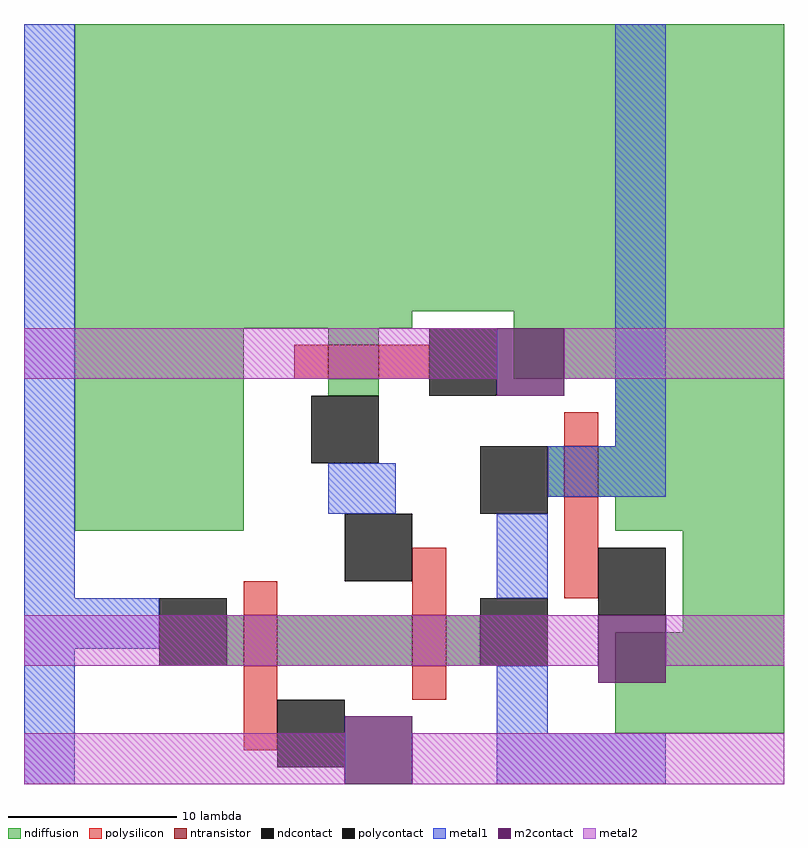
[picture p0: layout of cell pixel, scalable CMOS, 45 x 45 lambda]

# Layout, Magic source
magic
tech scmos
<< ntransistor >>
rect -74 -39 -71 -37
rect -60 -46 -58 -43
rect -79 -56 -77 -53
rect -69 -56 -67 -53
<< ndiffusion >>
rect -89 -35 -47 -18
rect -89 -36 -69 -35
rect -89 -48 -79 -36
rect -74 -37 -71 -36
rect -74 -40 -71 -39
rect -63 -39 -47 -35
rect -57 -43 -47 -39
rect -61 -46 -60 -43
rect -58 -46 -47 -43
rect -57 -48 -47 -46
rect -80 -56 -79 -53
rect -77 -56 -69 -53
rect -67 -56 -65 -53
rect -53 -54 -47 -48
rect -57 -60 -47 -54
<< ndcontact >>
rect -75 -44 -71 -40
rect -65 -47 -61 -43
rect -84 -56 -80 -52
rect -65 -56 -61 -52
<< polysilicon >>
rect -76 -39 -74 -37
rect -71 -39 -68 -37
rect -60 -43 -58 -41
rect -79 -53 -77 -51
rect -69 -53 -67 -49
rect -60 -52 -58 -46
rect -79 -61 -77 -56
rect -69 -58 -67 -56
<< polycontact >>
rect -68 -40 -64 -36
rect -73 -51 -69 -47
rect -58 -53 -54 -49
rect -77 -62 -73 -58
<< metal1 >>
rect -92 -52 -89 -18
rect -57 -43 -54 -18
rect -74 -47 -70 -44
rect -61 -46 -54 -43
rect -64 -52 -61 -47
rect -92 -55 -84 -52
rect -92 -63 -89 -55
rect -64 -60 -61 -56
rect -64 -63 -54 -60
<< m2contact >>
rect -64 -40 -60 -36
rect -73 -63 -69 -59
rect -58 -57 -54 -53
<< metal2 >>
rect -92 -39 -64 -36
rect -60 -39 -47 -36
rect -92 -56 -58 -53
rect -54 -56 -47 -53
rect -92 -63 -73 -60
rect -69 -63 -47 -60
<< end >>
